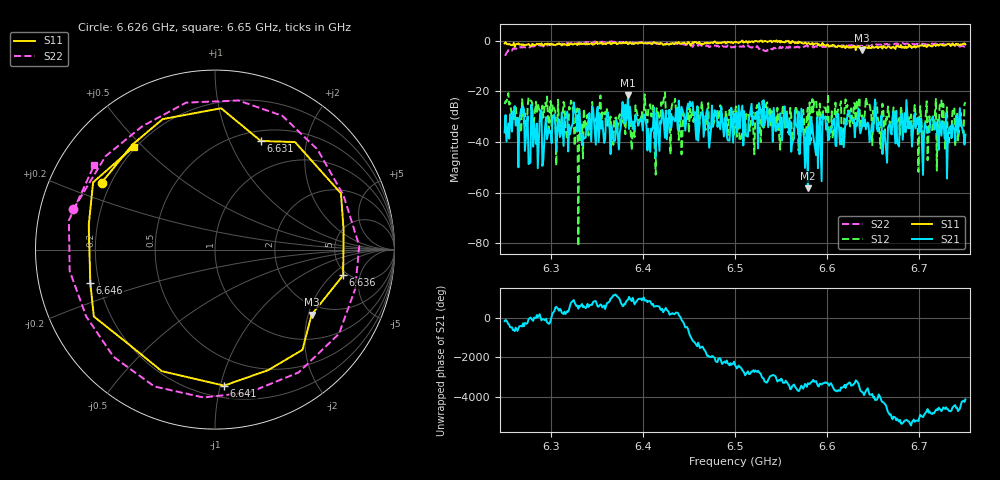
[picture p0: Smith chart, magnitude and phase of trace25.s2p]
# Hz S RI R 50
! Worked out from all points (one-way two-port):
!   401 points, 6.25 GHz to 6.75 GHz, reference 50 ohm
!   highest |S21| = -21.58 dB at 6.384 GHz (marker M1); lowest = -58.3 dB at 6.579 GHz (marker M2)
!   lowest |S11| = -3.8 dB at 6.638 GHz (marker M3), VSWR 4.70, Z = 83.9 - j105 ohm
!   |S11| at or under -10 dB: nowhere
!   |S22| runs from -5.7 to -0.1 dB; largest |S21 - S12| = 0.12
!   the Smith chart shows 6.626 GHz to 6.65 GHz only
!   S11 on the Smith chart (normalised r, x): 6.626 GHz: 0.17, +0.27; 6.631 GHz: 0.62, +1.31; 6.636 GHz: 4.59, -2.80; 6.641 GHz: 0.29, -1.03; 6.646 GHz: 0.17, -0.13; 6.65 GHz: 0.19, +0.47
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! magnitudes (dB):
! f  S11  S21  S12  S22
! 6.25 GHz  -1.1  -36.2  -25.1  -5.7
! 6.322 GHz  -1.3  -34.9  -23.7  -0.9
! 6.332 GHz  -1.2  -31.7  -39.3  -1.0
! 6.334 GHz  -1.3  -41.3  -32.8  -0.8
! 6.368 GHz  -0.8  -39.6  -41.1  -0.5
! 6.384 GHz  -1.4  -21.6  -30.8  -0.6
! 6.418 GHz  -1.4  -43.5  -30.8  -1.0
! 6.451 GHz  -1.2  -24.1  -26.9  -1.7
! 6.5 GHz  -0.5  -31.6  -28.9  -2.3
! 6.566 GHz  -0.7  -32.9  -25.8  -2.6
! 6.579 GHz  -1.0  -58.3  -26.6  -2.4
! 6.584 GHz  -0.9  -33.7  -23.1  -2.2
! 6.626 GHz  -2.7  -30.9  -26.8  -1.7
! 6.631 GHz  -3.7  -32.6  -33.9  -1.5
! 6.636 GHz  -2.8  -36.6  -34.8  -1.9
! 6.638 GHz  -3.8  -33.8  -29.5  -1.8
! 6.641 GHz  -2.4  -31.0  -28.3  -1.7
! 6.646 GHz  -2.9  -40.1  -25.3  -1.8
! 6.65 GHz  -2.7  -35.8  -27.7  -1.7
! 6.668 GHz  -2.5  -32.8  -33.0  -1.5
! 6.73 GHz  -1.5  -54.5  -26.3  -1.3
! 6.75 GHz  -1.5  -37.1  -24.3  -2.3
